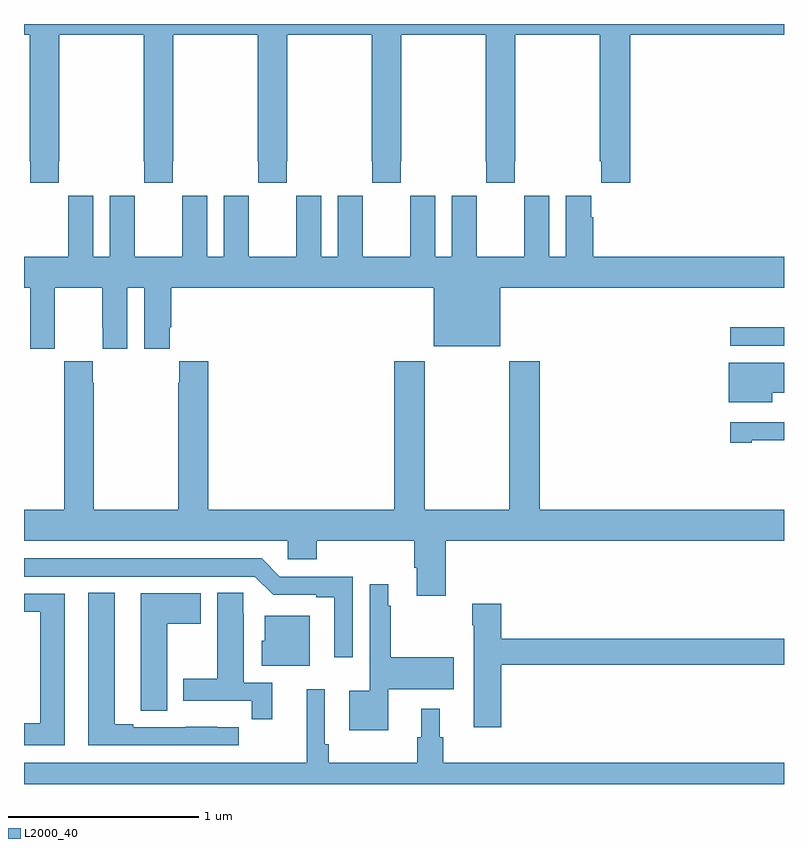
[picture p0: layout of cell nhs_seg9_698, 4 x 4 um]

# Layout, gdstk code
import gdstk
lib = gdstk.Library(unit=1e-6, precision=1e-09)
def R(c, l, rs):  # rectangles x0, y0, x1, y1
    for r in rs: c.add(gdstk.rectangle(r[:2], r[2:], *l))
def P(c, l, *ps):  # polygons
    for p in ps: c.add(gdstk.Polygon(p, *l))
L2000_40 = (2000, 40)

nhs_seg9_698 = lib.new_cell('nhs_seg9_698')
R(nhs_seg9_698, L2000_40, [(150.717,1170.807,151,1170.903)])
P(nhs_seg9_698, L2000_40, [(147.183,1171.777),(147.186,1171.777),(147.186,1172.444),(147.631,1172.444),(147.631,1171.777),(147.633,1171.777),(147.633,1171.665),(147.783,1171.665),(147.783,1171.777),(147.786,1171.777),(147.786,1172.444),(148.231,1172.444),(148.231,1171.777),(148.233,1171.777),(148.233,1171.665),(148.383,1171.665),(148.383,1171.777),(148.386,1171.777),(148.386,1172.444),(148.831,1172.444),(148.831,1171.777),(148.833,1171.777),(148.833,1171.665),(148.983,1171.665),(148.983,1171.777),(148.986,1171.777),(148.986,1172.444),(149.431,1172.444),(149.431,1171.777),(149.433,1171.777),(149.433,1171.665),(149.583,1171.665),(149.583,1171.777),(149.586,1171.777),(149.586,1172.444),(150.031,1172.444),(150.031,1171.777),(150.037,1171.777),(150.037,1171.665),(150.191,1171.665),(150.191,1172.444),(151,1172.444),(151,1172.5),(147,1172.5),(147,1172.444),(147.031,1172.444),(147.031,1171.777),(147.033,1171.777),(147.033,1171.665),(147.183,1171.665)],
  [(147.162,1170.904),(147.163,1170.904),(147.163,1171.112),(147.413,1171.112),(147.413,1170.904),(147.414,1170.904),(147.414,1170.792),(147.544,1170.792),(147.544,1171.112),(147.632,1171.112),(147.632,1170.792),(147.766,1170.792),(147.766,1170.904),(147.776,1170.904),(147.776,1171.112),(149.156,1171.112),(149.156,1170.803),(149.506,1170.803),(149.506,1171.112),(151,1171.112),(151,1171.276),(149.996,1171.276),(149.996,1171.484),(149.986,1171.484),(149.986,1171.597),(149.852,1171.597),(149.852,1171.276),(149.764,1171.276),(149.764,1171.597),(149.634,1171.597),(149.634,1171.484),(149.633,1171.484),(149.633,1171.276),(149.383,1171.276),(149.383,1171.484),(149.382,1171.484),(149.382,1171.597),(149.252,1171.597),(149.252,1171.276),(149.164,1171.276),(149.164,1171.597),(149.034,1171.597),(149.034,1171.484),(149.033,1171.484),(149.033,1171.276),(148.783,1171.276),(148.783,1171.484),(148.782,1171.484),(148.782,1171.597),(148.652,1171.597),(148.652,1171.276),(148.564,1171.276),(148.564,1171.597),(148.434,1171.597),(148.434,1171.484),(148.433,1171.484),(148.433,1171.276),(148.183,1171.276),(148.183,1171.484),(148.182,1171.484),(148.182,1171.597),(148.052,1171.597),(148.052,1171.276),(147.964,1171.276),(147.964,1171.597),(147.834,1171.597),(147.834,1171.484),(147.833,1171.484),(147.833,1171.276),(147.583,1171.276),(147.583,1171.484),(147.582,1171.484),(147.582,1171.597),(147.452,1171.597),(147.452,1171.276),(147.364,1171.276),(147.364,1171.597),(147.234,1171.597),(147.234,1171.484),(147.233,1171.484),(147.233,1171.276),(147,1171.276),(147,1171.112),(147.032,1171.112),(147.032,1170.792),(147.162,1170.792)],
  [(149.219,1169.78),(151,1169.78),(151,1169.944),(149.714,1169.944),(149.714,1170.724),(149.554,1170.724),(149.554,1169.944),(149.109,1169.944),(149.109,1170.724),(148.949,1170.724),(148.949,1169.944),(147.971,1169.944),(147.971,1170.724),(147.817,1170.724),(147.817,1170.611),(147.811,1170.611),(147.811,1169.944),(147.366,1169.944),(147.366,1170.611),(147.363,1170.611),(147.363,1170.724),(147.213,1170.724),(147.213,1170.611),(147.211,1170.611),(147.211,1169.944),(147,1169.944),(147,1169.78),(148.389,1169.78),(148.389,1169.682),(148.541,1169.682),(148.541,1169.78),(149.054,1169.78),(149.054,1169.638),(149.066,1169.638),(149.066,1169.49),(149.219,1169.49)],
  [(150.937,1170.56),(151,1170.56),(151,1170.718),(150.71,1170.718),(150.71,1170.509),(150.937,1170.509)],
  [(150.829,1170.309),(151,1170.309),(151,1170.405),(150.717,1170.405),(150.717,1170.297),(150.829,1170.297)],
  [(148.731,1169.592),(148.347,1169.592),(148.251,1169.688),(147,1169.688),(147,1169.592),(148.215,1169.592),(148.311,1169.496),(148.538,1169.496),(148.538,1169.484),(148.634,1169.484),(148.634,1169.166),(148.731,1169.166)],
  [(148.918,1169),(149.263,1169),(149.263,1169.166),(148.93,1169.166),(148.93,1169.438),(148.918,1169.438),(148.918,1169.551),(148.821,1169.551),(148.821,1168.99),(148.712,1168.99),(148.712,1168.784),(148.918,1168.784)],
  [(148.307,1169.034),(148.156,1169.034),(148.156,1169.396),(148.155,1169.396),(148.155,1169.507),(148.016,1169.507),(148.016,1169.055),(147.839,1169.055),(147.839,1168.938),(148.198,1168.938),(148.198,1168.842),(148.307,1168.842)],
  [(148.129,1168.8),(148.016,1168.8),(148.016,1168.801),(147.85,1168.801),(147.85,1168.8),(147.574,1168.8),(147.574,1168.815),(147.478,1168.815),(147.478,1169.507),(147.338,1169.507),(147.338,1168.704),(148.129,1168.704)],
  [(147.754,1169.344),(147.931,1169.344),(147.931,1169.503),(147.614,1169.503),(147.614,1168.993),(147.615,1168.993),(147.615,1168.885),(147.754,1168.885)],
  [(147.214,1169.502),(147,1169.502),(147,1169.406),(147.086,1169.406),(147.086,1168.82),(147,1168.82),(147,1168.704),(147.214,1168.704)],
  [(149.513,1169.128),(151,1169.128),(151,1169.264),(149.513,1169.264),(149.513,1169.449),(149.359,1169.449),(149.359,1169.336),(149.366,1169.336),(149.366,1168.8),(149.513,1168.8)],
  [(148.504,1169.386),(148.268,1169.386),(148.268,1169.253),(148.25,1169.253),(148.25,1169.123),(148.504,1169.123)],
  [(151,1168.612),(149.207,1168.612),(149.207,1168.746),(149.188,1168.746),(149.188,1168.897),(149.09,1168.897),(149.09,1168.746),(149.071,1168.746),(149.071,1168.612),(148.604,1168.612),(148.604,1168.708),(148.584,1168.708),(148.584,1168.999),(148.487,1168.999),(148.487,1168.612),(147,1168.612),(147,1168.5),(151,1168.5)])

lib.write_gds('nhs_seg9_698.gds')
